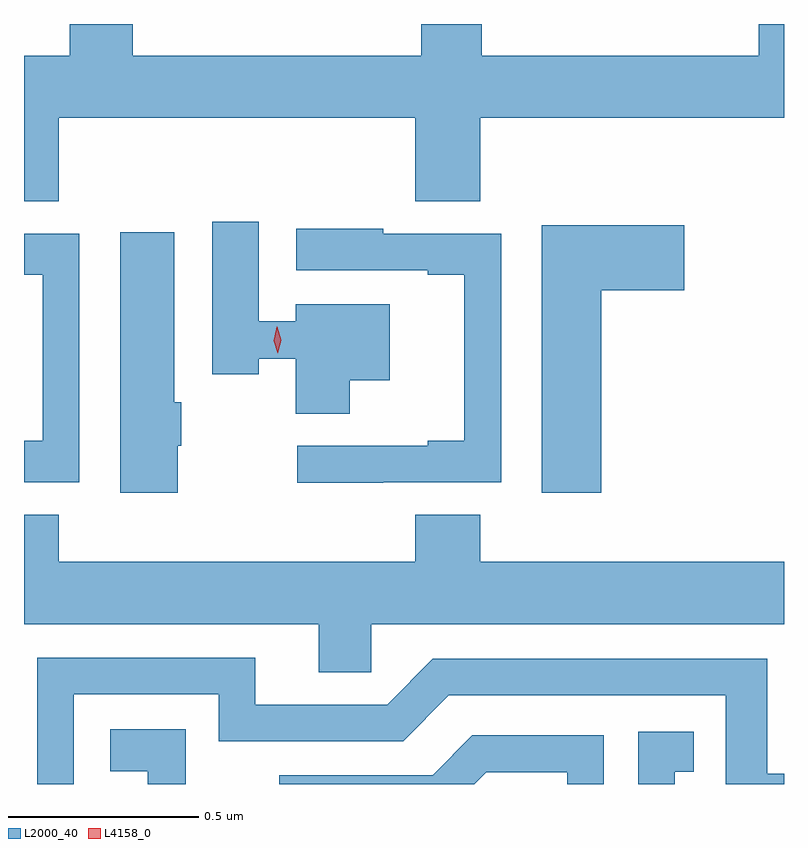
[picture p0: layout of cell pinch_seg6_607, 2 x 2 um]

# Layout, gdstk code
import gdstk
lib = gdstk.Library(unit=1e-6, precision=1e-09)
def P(c, l, *ps):  # polygons
    for p in ps: c.add(gdstk.Polygon(p, *l))
L2000_40 = (2000, 40)
L4158_0 = (4158, 0)

pinch_seg6_607 = lib.new_cell('pinch_seg6_607')
P(pinch_seg6_607, L2000_40, [(533.255,964.652),(534.194,964.652),(534.194,964.432),(534.365,964.432),(534.365,964.652),(535.164,964.652),(535.164,964.899),(535.097,964.899),(535.097,964.816),(534.369,964.816),(534.369,964.899),(534.209,964.899),(534.209,964.816),(533.45,964.816),(533.45,964.899),(533.285,964.899),(533.285,964.816),(533.164,964.816),(533.164,964.432),(533.255,964.432)],
  [(534.021,963.962),(534.127,963.962),(534.127,964.162),(533.879,964.162),(533.879,964.117),(533.782,964.117),(533.782,964.378),(533.66,964.378),(533.66,963.977),(533.782,963.977),(533.782,964.018),(533.879,964.018),(533.879,963.874),(534.021,963.874)],
  [(534.683,964.199),(534.901,964.199),(534.901,964.369),(534.527,964.369),(534.527,963.666),(534.683,963.666)],
  [(534.11,963.693),(534.42,963.693),(534.42,964.347),(534.11,964.347),(534.11,964.36),(533.88,964.36),(533.88,964.251),(534.227,964.251),(534.227,964.239),(534.323,964.239),(534.323,963.802),(534.227,963.802),(534.227,963.789),(533.883,963.789),(533.883,963.692),(534.11,963.692)],
  [(533.568,963.789),(533.578,963.789),(533.578,963.903),(533.56,963.903),(533.56,964.351),(533.417,964.351),(533.417,963.666),(533.568,963.666)],
  [(533.31,964.347),(533.164,964.347),(533.164,964.239),(533.213,964.239),(533.213,963.802),(533.164,963.802),(533.164,963.693),(533.31,963.693)],
  [(534.078,963.32),(535.164,963.32),(535.164,963.484),(534.365,963.484),(534.365,963.608),(534.194,963.608),(534.194,963.484),(533.255,963.484),(533.255,963.608),(533.164,963.608),(533.164,963.32),(533.939,963.32),(533.939,963.193),(534.078,963.193)],
  [(533.295,963.135),(533.676,963.135),(533.676,963.012),(534.162,963.012),(534.282,963.132),(535.011,963.132),(535.011,962.899),(535.164,962.899),(535.164,962.926),(535.12,962.926),(535.12,963.228),(534.24,963.228),(534.12,963.108),(533.773,963.108),(533.773,963.231),(533.199,963.231),(533.199,962.899),(533.295,962.899)],
  [(533.589,963.043),(533.391,963.043),(533.391,962.933),(533.489,962.933),(533.489,962.899),(533.589,962.899)],
  [(534.877,962.931),(534.926,962.931),(534.926,963.037),(534.78,963.037),(534.78,962.899),(534.877,962.899)],
  [(534.38,962.93),(534.594,962.93),(534.594,962.899),(534.69,962.899),(534.69,963.027),(534.344,963.027),(534.239,962.922),(533.836,962.922),(533.836,962.899),(534.349,962.899)])
P(pinch_seg6_607, L4158_0, [(533.832,964.032),(533.832,964.032),(533.821,964.066),(533.829,964.102),(533.829,964.102),(533.83,964.102),(533.841,964.067),(533.832,964.032)])

lib.write_gds('pinch_seg6_607.gds')
